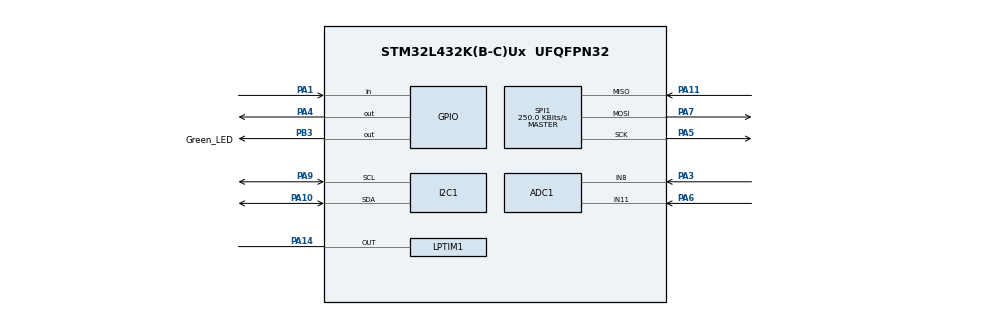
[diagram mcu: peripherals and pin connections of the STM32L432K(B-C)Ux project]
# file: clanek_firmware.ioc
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ADC1.Channel-0\#ChannelRegularConversion=ADC_CHANNEL_11
ADC1.NbrOfConversionFlag=1
ADC1.OffsetNumber-0\#ChannelRegularConversion=ADC_OFFSET_NONE
ADC1.Rank-0\#ChannelRegularConversion=1
ADC1.SamplingTime-0\#ChannelRegularConversion=ADC_SAMPLETIME_2CYCLES_5
ADC1.master=1
Dma.I2C1_RX.1.Direction=DMA_PERIPH_TO_MEMORY
Dma.I2C1_RX.1.Instance=DMA1_Channel7
Dma.I2C1_RX.1.MemDataAlignment=DMA_MDATAALIGN_BYTE
Dma.I2C1_RX.1.MemInc=DMA_MINC_ENABLE
Dma.I2C1_RX.1.Mode=DMA_NORMAL
Dma.I2C1_RX.1.PeriphDataAlignment=DMA_PDATAALIGN_BYTE
Dma.I2C1_RX.1.PeriphInc=DMA_PINC_DISABLE
Dma.I2C1_RX.1.Priority=DMA_PRIORITY_LOW
Dma.I2C1_TX.0.Direction=DMA_MEMORY_TO_PERIPH
Dma.I2C1_TX.0.Instance=DMA1_Channel6
Dma.I2C1_TX.0.MemDataAlignment=DMA_MDATAALIGN_BYTE
Dma.I2C1_TX.0.MemInc=DMA_MINC_ENABLE
Dma.I2C1_TX.0.Mode=DMA_CIRCULAR
Dma.I2C1_TX.0.PeriphDataAlignment=DMA_PDATAALIGN_BYTE
Dma.I2C1_TX.0.PeriphInc=DMA_PINC_DISABLE
Dma.I2C1_TX.0.Priority=DMA_PRIORITY_LOW
Dma.Request0=I2C1_TX
Dma.Request1=I2C1_RX
Dma.Request2=SPI1_RX
Dma.Request3=SPI1_TX
Dma.SPI1_RX.2.Direction=DMA_PERIPH_TO_MEMORY
Dma.SPI1_RX.2.Instance=DMA1_Channel2
Dma.SPI1_RX.2.MemDataAlignment=DMA_MDATAALIGN_BYTE
Dma.SPI1_RX.2.MemInc=DMA_MINC_ENABLE
Dma.SPI1_RX.2.Mode=DMA_NORMAL
Dma.SPI1_RX.2.PeriphDataAlignment=DMA_PDATAALIGN_BYTE
Dma.SPI1_RX.2.PeriphInc=DMA_PINC_DISABLE
Dma.SPI1_RX.2.Priority=DMA_PRIORITY_LOW
Dma.SPI1_TX.3.Direction=DMA_MEMORY_TO_PERIPH
Dma.SPI1_TX.3.Instance=DMA1_Channel3
Dma.SPI1_TX.3.MemDataAlignment=DMA_MDATAALIGN_BYTE
Dma.SPI1_TX.3.MemInc=DMA_MINC_ENABLE
Dma.SPI1_TX.3.Mode=DMA_NORMAL
Dma.SPI1_TX.3.PeriphDataAlignment=DMA_PDATAALIGN_BYTE
Dma.SPI1_TX.3.PeriphInc=DMA_PINC_DISABLE
Dma.SPI1_TX.3.Priority=DMA_PRIORITY_LOW
I2C1.I2C_Fall_Time=10
I2C1.I2C_Rise_Time=10
I2C1.Timing=0x00000509
LPTIM1.ClockPrescaler=LPTIM_PRESCALER_DIV4
Mcu.Family=STM32L4
Mcu.Name=STM32L432K(B-C)Ux
Mcu.Package=UFQFPN32
NVIC.ADC1_IRQn=true\:3\:0\:true\:false\:true\:true
NVIC.DMA1_Channel2_IRQn=true\:0\:0\:false\:false\:true\:false
NVIC.DMA1_Channel3_IRQn=true\:0\:0\:false\:false\:true\:false
NVIC.DMA1_Channel6_IRQn=true\:0\:0\:false\:false\:true\:false
NVIC.DMA1_Channel7_IRQn=true\:0\:0\:false\:false\:true\:false
NVIC.LPTIM1_IRQn=true\:0\:0\:false\:false\:true\:true
NVIC.PriorityGroup=NVIC_PRIORITYGROUP_4
NVIC.RTC_WKUP_IRQn=true\:0\:0\:false\:false\:true\:true
PA0.Mode=SYS_WakeUp0
PA0.Signal=SYS_WKUP1
PA1.Signal=GPIO_Input
PA10.Mode=I2C
PA10.Signal=I2C1_SDA
PA11.Mode=Full_Duplex_Master
PA11.Signal=SPI1_MISO
PA14\ (JTCK-SWCLK).Mode=WaveformGeneration
PA14\ (JTCK-SWCLK).Signal=LPTIM1_OUT
PA3.Signal=ADCx_IN8
PA4.Signal=GPIO_Output
PA5.Mode=Full_Duplex_Master
PA5.Signal=SPI1_SCK
PA6.Signal=ADCx_IN11
PA7.Mode=Full_Duplex_Master
PA7.Signal=SPI1_MOSI
PA9.Mode=I2C
PA9.Signal=I2C1_SCL
PB3\ (JTDO-TRACESWO).GPIO_Label=Green_LED
PB3\ (JTDO-TRACESWO).Signal=GPIO_Output
PC14-OSC32_IN\ (PC14).Mode=LSE-External-Oscillator
PC14-OSC32_IN\ (PC14).Signal=RCC_OSC32_IN
PC15-OSC32_OUT\ (PC15).Mode=LSE-External-Oscillator
PC15-OSC32_OUT\ (PC15).Signal=RCC_OSC32_OUT
ProjectManager.HeapSize=0x200
ProjectManager.StackSize=0x400
ProjectManager.TargetToolchain=TrueSTUDIO
RCC.ADCCLockSelection=RCC_ADCCLKSOURCE_SYSCLK
RCC.ADCFreq_Value=2000000
RCC.AHBFreq_Value=2000000
RCC.APB1Freq_Value=2000000
RCC.APB1TimFreq_Value=2000000
RCC.APB2Freq_Value=2000000
RCC.APB2TimFreq_Value=2000000
RCC.CortexFreq_Value=2000000
RCC.HCLKFreq_Value=2000000
RCC.HSE_VALUE=8000000
RCC.HSI48_VALUE=48000000
RCC.HSI_VALUE=16000000
RCC.MSIClockRange=RCC_MSIRANGE_5
RCC.MSI_VALUE=2000000
RCC.PLLM=2
RCC.PLLR=RCC_PLLR_DIV8
RCC.PLLSAI1R=RCC_PLLR_DIV8
RCC.RTCClockSelection=RCC_RTCCLKSOURCE_LSE
RCC.SYSCLKFreq_VALUE=2000000
RCC.USBFreq_Value=4000000
RCC.VCOOutputFreq_Value=8000000
RTC.Date=30
RTC.Month=RTC_MONTH_OCTOBER
RTC.WakeUpCounter=10000
RTC.WeekDay=RTC_WEEKDAY_TUESDAY
RTC.Year=18
SH.ADCx_IN11.0=ADC1_IN11,IN11-Single-Ended
SH.ADCx_IN8.0=ADC1_IN8,IN8-Single-Ended
SPI1.BaudRatePrescaler=SPI_BAUDRATEPRESCALER_8
SPI1.CalculateBaudRate=250.0 KBits/s
SPI1.DataSize=SPI_DATASIZE_8BIT
SPI1.Direction=SPI_DIRECTION_2LINES
SPI1.Mode=SPI_MODE_MASTER
SPI1.VirtualType=VM_MASTER
VP_LPTIM1_VS_LPTIM_counterModeInternalClock.Mode=Counts__internal_clock_event_00
VP_RTC_VS_RTC_Activate.Mode=RTC_Enabled
VP_RTC_VS_RTC_Calendar.Mode=RTC_Calendar
VP_RTC_VS_RTC_WakeUp_intern.Mode=WakeUp
board=clanek_firmware

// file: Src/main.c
/**
  ******************************************************************************
  * @file           : main.c
  * @brief          : Main program body
  ******************************************************************************
  ** This notice applies to any and all portions of this file
  * that are not between comment pairs USER CODE BEGIN and
  * USER CODE END. Other portions of this file, whether
  * inserted by the user or by software development tools
  * are owned by their respective copyright owners.
  *
  * COPYRIGHT(c) 2018 STMicroelectronics
  *
  * Redistribution and use in source and binary forms, with or without modification,
  * are permitted provided that the following conditions are met:
  *   1. Redistributions of source code must retain the above copyright notice,
  *      this list of conditions and the following disclaimer.
  *   2. Redistributions in binary form must reproduce the above copyright notice,
  *      this list of conditions and the following disclaimer in the documentation
  *      and/or other materials provided with the distribution.
  *   3. Neither the name of STMicroelectronics nor the names of its contributors
  *      may be used to endorse or promote products derived from this software
  *      without specific prior written permission.4
  *
  * THIS SOFTWARE IS PROVIDED BY THE COPYRIGHT HOLDERS AND CONTRIBUTORS "AS IS"
  * AND ANY EXPRESS OR IMPLIED WARRANTIES, INCLUDING, BUT NOT LIMITED TO, THE
  * IMPLIED WARRANTIES OF MERCHANTABILITY AND FITNESS FOR A PARTICULAR PURPOSE ARE
  * DISCLAIMED. IN NO EVENT SHALL THE COPYRIGHT HOLDER OR CONTRIBUTORS BE LIABLE
  * FOR ANY DIRECT, INDIRECT, INCIDENTAL, SPECIAL, EXEMPLARY, OR CONSEQUENTIAL
  * DAMAGES (INCLUDING, BUT NOT LIMITED TO, PROCUREMENT OF SUBSTITUTE GOODS OR
  * SERVICES; LOSS OF USE, DATA, OR PROFITS; OR BUSINESS INTERRUPTION) HOWEVER
  * CAUSED AND ON ANY THEORY OF LIABILITY, WHETHER IN CONTRACT, STRICT LIABILITY,
  * OR TORT (INCLUDING NEGLIGENCE OR OTHERWISE) ARISING IN ANY WAY OUT OF THE USE
  * OF THIS SOFTWARE, EVEN IF ADVISED OF THE POSSIBILITY OF SUCH DAMAGE.
  *
  ******************************************************************************
  */
#include "main.h"
#include "adc.h"
#include "dma.h"
#include "i2c.h"
#include "lptim.h"
#include "rtc.h"
#include "spi.h"
#include "gpio.h"

/* USER CODE BEGIN PV */
/* Private variables ---------------------------------------------------------*/

/* USER CODE END PV */

static void LL_Init(void);
void SystemClock_Config(void);

/* USER CODE BEGIN PFP */
/* Private function prototypes -----------------------------------------------*/

/* USER CODE END PFP */
uint8_t wkup_irq_flg, configuration_changed;

int main(void)
{
	/* USER CODE BEGIN 1 */

	int16_t bps_temp=0, bps_hum=0, sl900_temp=0, sl900_light=0, moisture=0;
	uint16_t sampling_interval=0, free_mem_start, result_write_header;
	uint32_t time, time_diff;
	uint64_t compressed_data;
	uint8_t decoded_time[7], data_buffer[20], memory_full=True, time_ok = False;
	//uint16_t i;
	/* USER CODE END 1 */

	/* MCU Configuration----------------------------------------------------------*/
	/* Reset of all peripherals, Initializes the Flash interface and the Systick. */
	LL_Init();

	/* Configure the system clock */
	SystemClock_Config();
	LL_PWR_EnableLowPowerRunMode();        //enable this later
	LL_PWR_EnableWakeUpPin(LL_PWR_WAKEUP_PIN1);

	/* Initialize all configured peripherals */
	MX_RTC_Init();
	MX_GPIO_Init();
	MX_DMA_Init();
	MX_I2C1_Init();
	MX_LPTIM1_Init();  //wakeup timer
	/* USER CODE BEGIN 2 */

	if(LL_PWR_IsActiveFlag_WU1()){
		LL_PWR_ClearFlag_WU1();

		lptim_sleep_us(5000);
		__disable_irq();
		if (LL_GPIO_IsInputPinSet(GPIOA, LL_GPIO_PIN_0) && !wkup_irq_flg){
			LL_LPM_EnableDeepSleep();
			LL_PWR_SetPowerMode(LL_PWR_MODE_STOP1);
			__WFI();
		}
		__enable_irq();
//		//dbg
//		for (i=1; i<20; i++){
//			LL_GPIO_TogglePin(LD3_GPIO_Port, LD3_Pin);
//			lptim_sleep_us(800000);
//		}

		MX_SPI1_Init();
		LL_SPI_Enable(SPI1);
		sl_transfer_response_irq_sequence("\x40\x66", 2, 5, 0);
		time = convert_uint8_array_to_uint32((uint8_t*)spi_rx_buff);
		decode_time(decoded_time, time);
		if (decoded_time[0]==1){
			configuration_changed=1;
		}
	}

	if (!wkup_irq_flg || configuration_changed){

		//dbg
		LL_GPIO_SetOutputPin(LD3_GPIO_Port, LD3_Pin);
		lptim_sleep_us(200000);
		LL_GPIO_ResetOutputPin(LD3_GPIO_Port, LD3_Pin);

		//this section reads data from BPS230
		LL_I2C_Enable(I2C1);

		//CE for BPS230 may need some time to enable after setting pin
		LL_GPIO_SetOutputPin(CE1_GPIO_Port, CE1_Pin);

		LL_LPM_EnableSleep();
		lptim_sleep_us(200); //wait 200us

		i2c_tx_dma_blocking("\x01\x3D", 0xFF, 2, True); 	// make sure to check man/auto mode on BPS
		while(!LL_I2C_IsActiveFlag_STOP(I2C1)); //wait until stop is asserted, maybe set stop interrupt

		if (i2c_communication_successful){
			LL_LPM_EnableDeepSleep();
			LL_PWR_SetPowerMode(LL_PWR_MODE_STOP1);
			lptim_sleep_us(110000); //wait 110ms for sensor to finish measuring
			LL_LPM_EnableSleep();

			i2c_tx_dma_blocking("\x03", 0xFF, 1, False);
			i2c_rx_dma_blocking(0xFF, 6);
		}
		LL_GPIO_ResetOutputPin(CE1_GPIO_Port, CE1_Pin);
		i2c_deinit();
		if (i2c_communication_successful){
			bps_temp = bps_convert_temp(3);
			bps_hum = bps_convert_hum(1);
		}

		// this section performs adc measurement
		MX_LPTIM2_Init(); //this enables pwm output

		MX_ADC1_Init();
		lptim_sleep_us(30000);  //wait for sensor to stabilise

		LL_ADC_Enable(ADC1);
		__WFI();

		LL_ADC_REG_StartConversion(ADC1);
		while(LL_ADC_REG_IsConversionOngoing(ADC1)){
			__WFI();
		}
		moisture = convert_adc_result(0, 1);

		if (moisture >= 590 && moisture <= 2412){
			moisture = (1 << 12) | moisture;
		}
		else if (moisture > 2412){
			lptim_set_divider(4);
			lptim_sleep_us(60000);
			LL_ADC_REG_StartConversion(ADC1);
			while(LL_ADC_REG_IsConversionOngoing(ADC1)){
				__WFI();
			}
			moisture = convert_adc_result(2, 0);
		}
		else{
			lptim_set_divider(18);
			lptim_sleep_us(30000);
			LL_ADC_REG_StartConversion(ADC1);
			while(LL_ADC_REG_IsConversionOngoing(ADC1)){
				__WFI();
			}
			moisture = convert_adc_result(2, 2);
			moisture = (2 << 12) | moisture;
		}

		lptim_disable(LPTIM2);

		if (!LL_SPI_IsEnabled(SPI1)){
			MX_SPI1_Init();
			LL_SPI_Enable(SPI1);
		}

		sl_transfer_response_irq_sequence("\x40\x64", 2, 11, 4);
		lptim_sleep_us(SL900_SLEEP_US);
		free_mem_start = convert_uint8_array_to_uint16((uint8_t*)spi_rx_buff+4);
		time = convert_uint8_array_to_uint32((uint8_t*)spi_rx_buff+2+4);
		sampling_interval = convert_uint8_array_to_uint16((uint8_t*)spi_rx_buff+6+4);
		decode_time(decoded_time, time);

		if (sl900_exti_flag){
			if (decoded_time[1]<20 && decoded_time[2]<60 && decoded_time[3]<24 && decoded_time[4]<31 && decoded_time[5]<12 && decoded_time[6]<99){
				time_ok = True;
				if (decoded_time[0]==1){
					configuration_changed=1;

					decoded_time[0]=0; //if this flag is set RTC will be reset and then flag will be removed
					time = encode_time(decoded_time);

					memcpy(data_buffer, "\x08\x66", 2);
					memcpy(data_buffer+2, &time, sizeof(time));
					sl_transfer_wait_sequence((char*)data_buffer, 6, 10000);  //un-comment this in final version
					result_write_header = 0x006E + free_mem_start;
					data_buffer[0]=result_write_header >> 8;
					data_buffer[1]=result_write_header;
					memcpy(data_buffer+2, "\x00\x00", 2);
					sl_transfer_wait_sequence((char*)data_buffer, 3, 10000);
				}
			rtc_set_time(decoded_time, time);  // if pwr is lost RTC will be reset
			}
			if (sampling_interval>0){
				sl_transfer_response_irq_sequence(SL900_GET_TEMP_CMD, 1, 2, 0);  //cmd meas temp
				lptim_sleep_us(SL900_SLEEP_US);
				sl900_temp=sl_convert_temp(0);

				sl_transfer_response_irq_sequence(SL900_GET_EXT_SEN2_CMD, 1, 2, 2);  //cmd meas light
				lptim_sleep_us(SL900_SLEEP_US);
				sl900_light=sl_convert_light(2);

				time_diff = get_time_diff_in_minutes(decoded_time);  //24bits
				time_diff = (time_diff << 1) | 0x1; //set 1st bit to 1 to signal write slot full
				compressed_data = compress_measurement_data(bps_hum, (bps_temp+sl900_temp)/2, sl900_light, moisture);  //48bits
				memory_full = save_measurement_data_to_eeprom(compressed_data, time_diff, free_mem_start);
			}
		}
	}

//	sl_transfer_response_irq_sequence("\x40\x6E", 2, 38, 0);
	while (1)
	{
		if (sampling_interval>0 && memory_full == False && time_ok == True){
//			LL_GPIO_TogglePin(LD3_GPIO_Port, LD3_Pin);
//			LL_LPM_EnableDeepSleep();
//			LL_PWR_SetPowerMode(LL_PWR_MODE_STOP1);
//			lptim_sleep_us(1000000);

			set_rtc_wakeup(sampling_interval);
		}
		else if(wkup_irq_flg){

		}
		else{
			LL_RTC_DisableWriteProtection(RTC);
			LL_RTC_DisableIT_WUT(RTC);

			LL_RTC_ClearFlag_WUT(RTC);
			LL_RTC_WAKEUP_Disable(RTC);
			LL_RTC_ClearFlag_WUT(RTC);

		}
		LL_LPM_EnableDeepSleep();
		LL_PWR_SetPowerMode(LL_PWR_MODE_SHUTDOWN);
		__WFI();

	/* USER CODE END 2 */

	/* Infinite loop */

  }

}

static void LL_Init(void)
{

  LL_APB2_GRP1_EnableClock(LL_APB2_GRP1_PERIPH_SYSCFG);
  LL_APB1_GRP1_EnableClock(LL_APB1_GRP1_PERIPH_PWR);

  NVIC_SetPriorityGrouping(NVIC_PRIORITYGROUP_4);

  /* System interrupt init*/
  /* MemoryManagement_IRQn interrupt configuration */
  NVIC_SetPriority(MemoryManagement_IRQn, NVIC_EncodePriority(NVIC_GetPriorityGrouping(),0, 0));
  /* BusFault_IRQn interrupt configuration */
  NVIC_SetPriority(BusFault_IRQn, NVIC_EncodePriority(NVIC_GetPriorityGrouping(),0, 0));
  /* UsageFault_IRQn interrupt configuration */
  NVIC_SetPriority(UsageFault_IRQn, NVIC_EncodePriority(NVIC_GetPriorityGrouping(),0, 0));
  /* SVCall_IRQn interrupt configuration */
  NVIC_SetPriority(SVCall_IRQn, NVIC_EncodePriority(NVIC_GetPriorityGrouping(),0, 0));
  /* DebugMonitor_IRQn interrupt configuration */
  NVIC_SetPriority(DebugMonitor_IRQn, NVIC_EncodePriority(NVIC_GetPriorityGrouping(),0, 0));
  /* PendSV_IRQn interrupt configuration */
  NVIC_SetPriority(PendSV_IRQn, NVIC_EncodePriority(NVIC_GetPriorityGrouping(),0, 0));
  /* SysTick_IRQn interrupt configuration */
  NVIC_SetPriority(SysTick_IRQn, NVIC_EncodePriority(NVIC_GetPriorityGrouping(),0, 0));

}

void SystemClock_Config(void)
{

	LL_FLASH_SetLatency(LL_FLASH_LATENCY_0);

	if(LL_FLASH_GetLatency() != LL_FLASH_LATENCY_0)
	{
	Error_Handler();
	}
	LL_PWR_SetRegulVoltageScaling(LL_PWR_REGU_VOLTAGE_SCALE1);

	LL_PWR_EnableBkUpAccess();  // this must be set to enable rtc usage and more
	if (!LL_RCC_LSE_IsReady() || !LL_RCC_IsEnabledRTC()){

		LL_RCC_ForceBackupDomainReset();
		LL_RCC_ReleaseBackupDomainReset();

		LL_RCC_LSE_SetDriveCapability(LL_RCC_LSEDRIVE_LOW);
		LL_RCC_LSE_Enable();

		/* Wait till LSE is ready */
		while(LL_RCC_LSE_IsReady() != 1);
		LL_RCC_LSCO_SetSource(LL_RCC_LSCO_CLKSOURCE_LSE);

		LL_RCC_SetRTCClockSource(LL_RCC_RTC_CLKSOURCE_LSE);
		//LL_RCC_EnableRTC();
	}

	LL_RCC_MSI_Enable();

	/* Wait till MSI is ready */
	while(LL_RCC_MSI_IsReady() != 1)
	{

	}
	LL_RCC_MSI_EnablePLLMode();
	LL_RCC_MSI_EnableRangeSelection();
	LL_RCC_MSI_SetRange(LL_RCC_MSIRANGE_5);
	LL_RCC_MSI_SetCalibTrimming(0);

	LL_RCC_SetSysClkSource(LL_RCC_SYS_CLKSOURCE_MSI);

	/* Wait till System clock is ready */
	while(LL_RCC_GetSysClkSource() != LL_RCC_SYS_CLKSOURCE_STATUS_MSI)
	{

	}
	LL_RCC_SetAHBPrescaler(LL_RCC_SYSCLK_DIV_1);
	LL_RCC_SetAPB1Prescaler(LL_RCC_APB1_DIV_1);
	LL_RCC_SetAPB2Prescaler(LL_RCC_APB2_DIV_1);

	LL_Init1msTick(2000000);
	LL_SYSTICK_SetClkSource(LL_SYSTICK_CLKSOURCE_HCLK);

	LL_SetSystemCoreClock(2000000);
	LL_RCC_SetI2CClockSource(LL_RCC_I2C1_CLKSOURCE_SYSCLK);
	LL_RCC_SetLPTIMClockSource(LL_RCC_LPTIM1_CLKSOURCE_LSE);
	LL_RCC_SetLPTIMClockSource(LL_RCC_LPTIM2_CLKSOURCE_PCLK1);
	LL_RCC_SetADCClockSource(LL_RCC_ADC_CLKSOURCE_SYSCLK);

	/* SysTick_IRQn interrupt configuration */
	NVIC_SetPriority(SysTick_IRQn, NVIC_EncodePriority(NVIC_GetPriorityGrouping(),0, 0));
}

void _Error_Handler(char *file, int line)
{
  while(1)
  {
  }
}

/************************ (C) COPYRIGHT STMicroelectronics *****END OF FILE****/
